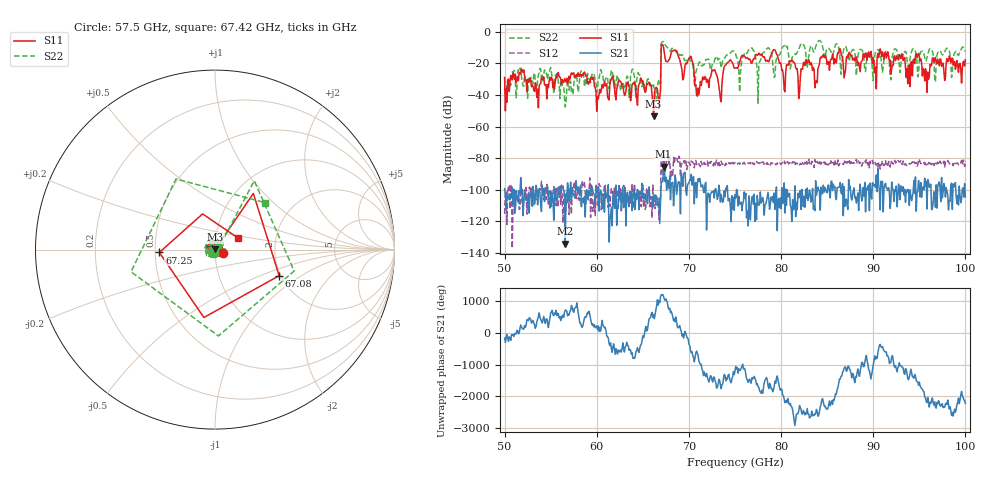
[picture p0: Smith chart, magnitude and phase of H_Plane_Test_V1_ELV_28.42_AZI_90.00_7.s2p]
! 11/27/2026 8:05:31 AM
! C:\ANRITSUVNA\TEMP\TEMP.S2P
! CHANNEL.1
! TR.MEASUREMENT
! RAW.DATA
# HZ S RI R 50.0
! FREQ.HZ  S11RE  S11IM  S21RE  S21IM  S12RE  S12IM  S22RE  S22IM
!; PortSelection: Port_12
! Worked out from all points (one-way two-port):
!   601 points, 50 GHz to 100 GHz, reference 50 ohm
!   highest |S21| = -85.45 dB at 67.25 GHz (marker M1); lowest = -134.0 dB at 56.58 GHz (marker M2)
!   lowest |S11| = -53.6 dB at 66.17 GHz (marker M3), VSWR 1.00, Z = 50.1 + j0.164 ohm
!   |S11| at or under -10 dB: start of sweep to 67 GHz; 67.24 GHz to end of sweep
!   |S22| runs from -47.6 to -5.6 dB; largest |S21 - S12| = 0.00014
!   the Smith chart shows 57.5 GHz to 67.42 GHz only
!   S11 on the Smith chart (normalised r, x): 57.5 GHz: 1.09, -0.04; 67.08 GHz: 1.96, -0.67; 67.25 GHz: 0.53, -0.02; 67.42 GHz: 1.29, +0.17
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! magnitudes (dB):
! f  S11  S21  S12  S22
! 50 GHz  -29.0  -99.3  -115.2  -35.7
! 54.83 GHz  -31.6  -104.7  -100.7  -25.7
! 56.58 GHz  -31.0  -134.0  -104.1  -47.6
! 57.5 GHz  -26.1  -102.4  -98.4  -34.4
! 58.42 GHz  -27.1  -106.3  -94.2  -24.6
! 60.17 GHz  -42.6  -97.9  -107.5  -30.2
! 66.17 GHz  -53.6  -104.0  -104.9  -33.8
! 66.67 GHz  -41.7  -107.1  -106.2  -31.6
! 67.08 GHz  -8.3  -94.8  -78.1  -6.8
! 67.25 GHz  -10.2  -85.5  -82.0  -6.3
! 67.42 GHz  -16.8  -94.7  -88.5  -8.3
! 70.25 GHz  -16.0  -90.3  -81.8  -18.8
! 70.92 GHz  -40.8  -96.1  -82.8  -22.9
! 75 GHz  -23.1  -103.1  -82.9  -13.1
! 79.25 GHz  -11.4  -102.1  -83.9  -29.0
! 80.25 GHz  -27.9  -106.4  -82.0  -9.3
! 83.42 GHz  -24.5  -99.1  -83.0  -10.9
! 91.67 GHz  -16.6  -98.7  -82.1  -15.3
! 93.75 GHz  -33.0  -99.7  -84.3  -21.7
! 94.83 GHz  -14.9  -101.2  -84.3  -28.6
! 95.83 GHz  -38.4  -112.1  -83.9  -16.4
! 100 GHz  -17.8  -104.4  -81.9  -12.6
